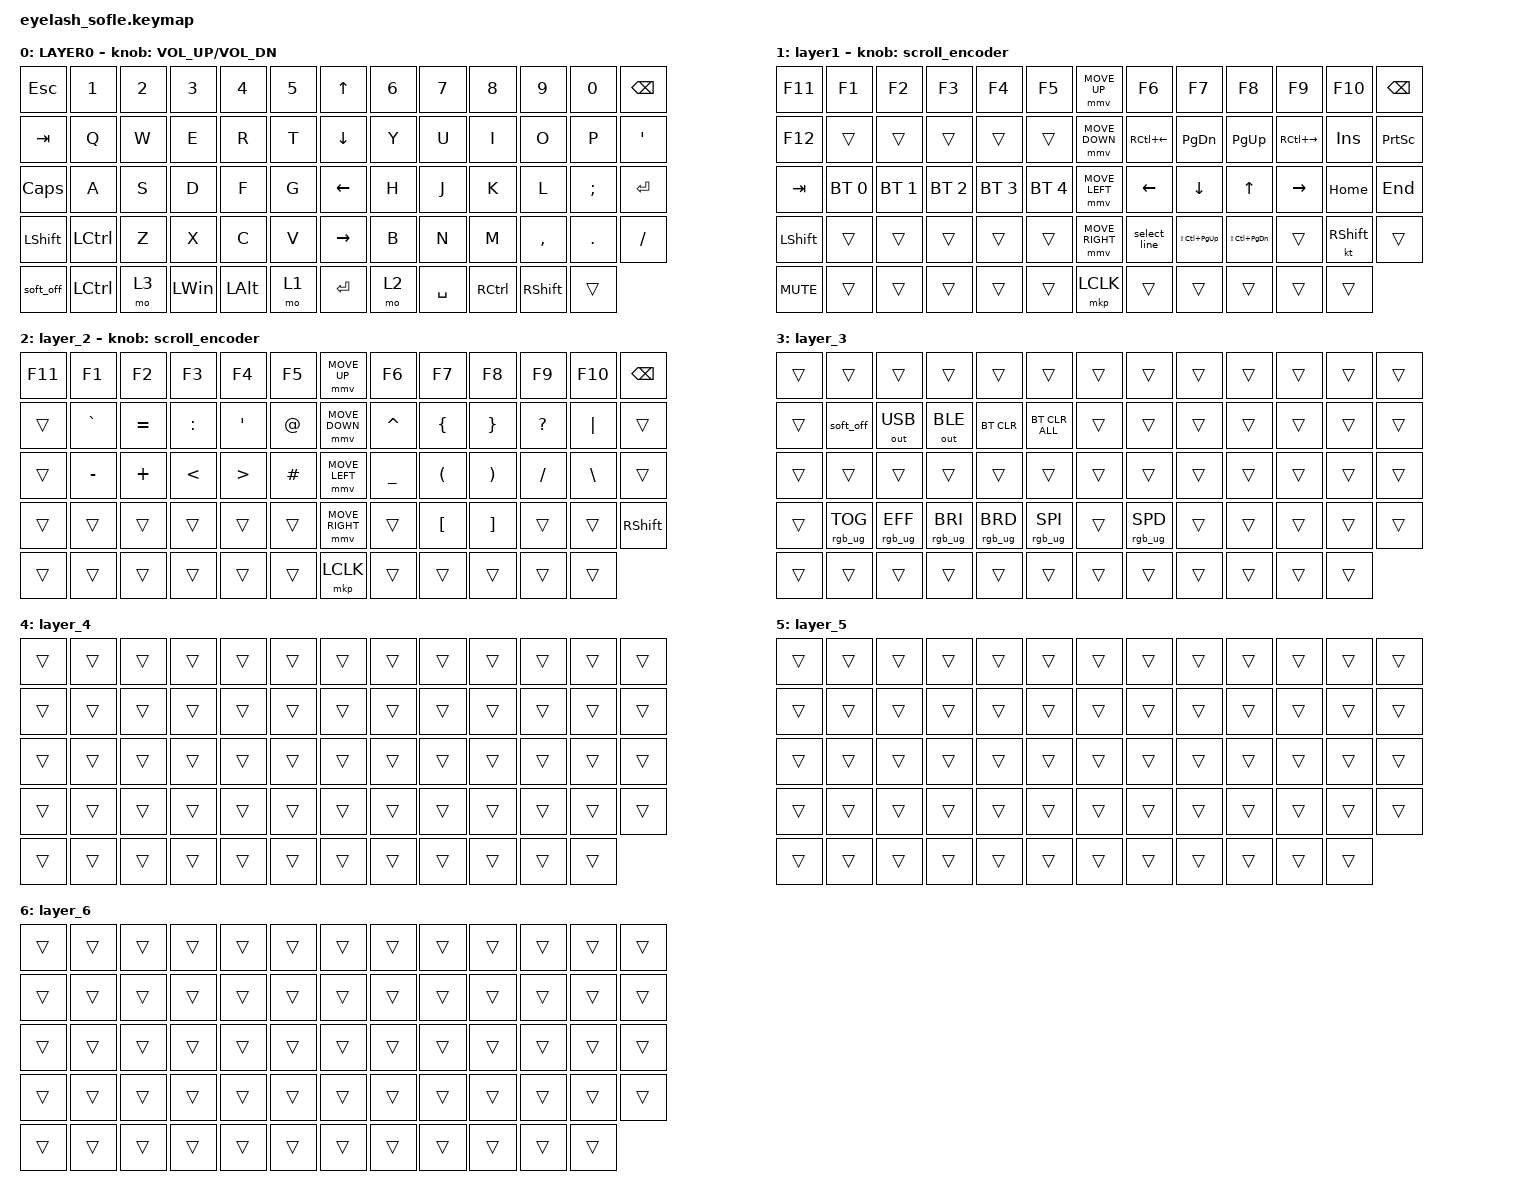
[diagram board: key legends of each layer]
#define ZMK_POINTING_DEFAULT_MOVE_VAL 1200  // 600
#define ZMK_POINTING_DEFAULT_SCRL_VAL 25   // 10

#include <input/processors.dtsi>
#include <zephyr/dt-bindings/input/input-event-codes.h>
#include <behaviors.dtsi>
#include <dt-bindings/zmk/bt.h>
#include <dt-bindings/zmk/keys.h>
#include <dt-bindings/zmk/outputs.h>
#include <dt-bindings/zmk/pointing.h>
#include <dt-bindings/zmk/rgb.h>

&mmv_input_listener { input-processors = <&zip_xy_scaler 2 1>; };

&msc_input_listener { input-processors = <&zip_scroll_scaler 2 1>; };

&msc {
    acceleration-exponent = <1>;      // 0
    time-to-max-speed-ms = <100>;       // 300
    delay-ms = <0>;                   // 0
};

&mmv {
    time-to-max-speed-ms = <500>;
    acceleration-exponent = <1>;
    trigger-period-ms = <16>;
};

/ {
    scroll_encoder: scroll_encoder {
        compatible = "zmk,behavior-sensor-rotate";
        #sensor-binding-cells = <0>;
        bindings = <&msc SCRL_DOWN>, <&msc SCRL_UP>;

        tap-ms = <100>;
    };

    behaviors {
    };

    macros {
        select_line: select_line {
            compatible = "zmk,behavior-macro";
            #binding-cells = <0>;
            bindings = <&kp END &kp LS(HOME)>;
            label = "SELECT_LINE";
        };
    };

    keymap {
        compatible = "zmk,keymap";

        layer0 {
            bindings = <
&kp ESC         &kp N1     &kp N2  &kp N3        &kp N4    &kp N5    &kp UP_ARROW     &kp N6  &kp N7     &kp N8     &kp N9           &kp N0      &kp BACKSPACE
&kp TAB         &kp Q      &kp W   &kp E         &kp R     &kp T     &kp DOWN_ARROW   &kp Y   &kp U      &kp I      &kp O            &kp P       &kp APOS
&kp CAPSLOCK    &kp A      &kp S   &kp D         &kp F     &kp G     &kp LEFT_ARROW   &kp H   &kp J      &kp K      &kp L            &kp SEMI    &kp ENTER
&kp LEFT_SHIFT  &kp LCTRL  &kp Z   &kp X         &kp C     &kp V     &kp RIGHT_ARROW  &kp B   &kp N      &kp M      &kp COMMA        &kp PERIOD  &kp SLASH
&soft_off       &kp LCTRL  &mo 3   &kp LEFT_WIN  &kp LALT  &mo 1     &kp ENTER        &mo 2   &kp SPACE  &kp RCTRL  &kp RIGHT_SHIFT  &trans
            >;

            sensor-bindings = <&inc_dec_kp C_VOLUME_UP C_VOL_DN>;
            display-name = "LAYER0";
        };

        layer_1 {
            bindings = <
&kp F11         &kp F1        &kp F2        &kp F3        &kp F4        &kp F5          &mmv MOVE_UP     &kp F6        &kp F7               &kp F8                 &kp F9         &kp F10          &kp BACKSPACE
&kp F12         &trans        &trans        &trans        &trans        &trans          &mmv MOVE_DOWN   &kp RC(LEFT)  &kp PAGE_DOWN        &kp PAGE_UP            &kp RC(RIGHT)  &kp INSERT       &kp PRINTSCREEN
&kp TAB         &bt BT_SEL 0  &bt BT_SEL 1  &bt BT_SEL 2  &bt BT_SEL 3  &bt BT_SEL 4    &mmv MOVE_LEFT   &kp LEFT      &kp DOWN             &kp UP_ARROW           &kp RIGHT      &kp HOME         &kp END
&kp LEFT_SHIFT  &trans        &trans        &trans        &trans        &trans          &mmv MOVE_RIGHT  &select_line  &kp LS(LC(PAGE_UP))  &kp LS(LC(PAGE_DOWN))  &trans         &kt RIGHT_SHIFT  &trans
&kp C_MUTE      &trans        &trans        &trans        &trans        &trans          &mkp LCLK        &trans        &trans               &trans                 &trans         &trans
            >;

            display-name = "layer1";
            sensor-bindings = <&scroll_encoder>;
        };

        layer_2 {
            bindings = <
&kp F11  &kp F1     &kp F2     &kp F3         &kp F4            &kp F5      &mmv MOVE_UP     &kp F6          &kp F7                &kp F8                 &kp F9        &kp F10        &kp BACKSPACE
&trans   &kp GRAVE  &kp EQUAL  &kp COLON      &kp APOS          &kp AT      &mmv MOVE_DOWN   &kp CARET       &kp LEFT_BRACE        &kp RIGHT_BRACE        &kp QUESTION  &kp PIPE       &trans
&trans   &kp MINUS  &kp PLUS   &kp LESS_THAN  &kp GREATER_THAN  &kp HASH    &mmv MOVE_LEFT   &kp UNDERSCORE  &kp LEFT_PARENTHESIS  &kp RIGHT_PARENTHESIS  &kp SLASH     &kp BACKSLASH  &trans
&trans   &trans     &trans     &trans         &trans            &trans      &mmv MOVE_RIGHT  &trans          &kp LEFT_BRACKET      &kp RIGHT_BRACKET      &trans        &trans         &kp RSHIFT
&trans   &trans     &trans     &trans         &trans            &trans      &mkp LCLK        &trans          &trans                &trans                 &trans        &trans
            >;

            sensor-bindings = <&scroll_encoder>;
        };

        layer_3 {
            bindings = <
&trans  &trans           &trans           &trans           &trans           &trans             &trans  &trans           &trans  &trans  &trans  &trans  &trans
&trans  &soft_off        &out OUT_USB     &out OUT_BLE     &bt BT_CLR       &bt BT_CLR_ALL     &trans  &trans           &trans  &trans  &trans  &trans  &trans
&trans  &trans           &trans           &trans           &trans           &trans             &trans  &trans           &trans  &trans  &trans  &trans  &trans
&trans  &rgb_ug RGB_TOG  &rgb_ug RGB_EFF  &rgb_ug RGB_BRI  &rgb_ug RGB_BRD  &rgb_ug RGB_SPI    &trans  &rgb_ug RGB_SPD  &trans  &trans  &trans  &trans  &trans
&trans  &trans           &trans           &trans           &trans           &trans             &trans  &trans           &trans  &trans  &trans  &trans
            >;
        };

        layer_4 {
            bindings = <
&trans  &trans  &trans  &trans  &trans  &trans    &trans  &trans  &trans  &trans  &trans  &trans  &trans
&trans  &trans  &trans  &trans  &trans  &trans    &trans  &trans  &trans  &trans  &trans  &trans  &trans
&trans  &trans  &trans  &trans  &trans  &trans    &trans  &trans  &trans  &trans  &trans  &trans  &trans
&trans  &trans  &trans  &trans  &trans  &trans    &trans  &trans  &trans  &trans  &trans  &trans  &trans
&trans  &trans  &trans  &trans  &trans  &trans    &trans  &trans  &trans  &trans  &trans  &trans
            >;
        };

        layer_5 {
            bindings = <
&trans  &trans  &trans  &trans  &trans  &trans    &trans  &trans  &trans  &trans  &trans  &trans  &trans
&trans  &trans  &trans  &trans  &trans  &trans    &trans  &trans  &trans  &trans  &trans  &trans  &trans
&trans  &trans  &trans  &trans  &trans  &trans    &trans  &trans  &trans  &trans  &trans  &trans  &trans
&trans  &trans  &trans  &trans  &trans  &trans    &trans  &trans  &trans  &trans  &trans  &trans  &trans
&trans  &trans  &trans  &trans  &trans  &trans    &trans  &trans  &trans  &trans  &trans  &trans
            >;
        };

        layer_6 {
            bindings = <
&trans  &trans  &trans  &trans  &trans  &trans    &trans  &trans  &trans  &trans  &trans  &trans  &trans
&trans  &trans  &trans  &trans  &trans  &trans    &trans  &trans  &trans  &trans  &trans  &trans  &trans
&trans  &trans  &trans  &trans  &trans  &trans    &trans  &trans  &trans  &trans  &trans  &trans  &trans
&trans  &trans  &trans  &trans  &trans  &trans    &trans  &trans  &trans  &trans  &trans  &trans  &trans
&trans  &trans  &trans  &trans  &trans  &trans    &trans  &trans  &trans  &trans  &trans  &trans
            >;
        };
    };
};
